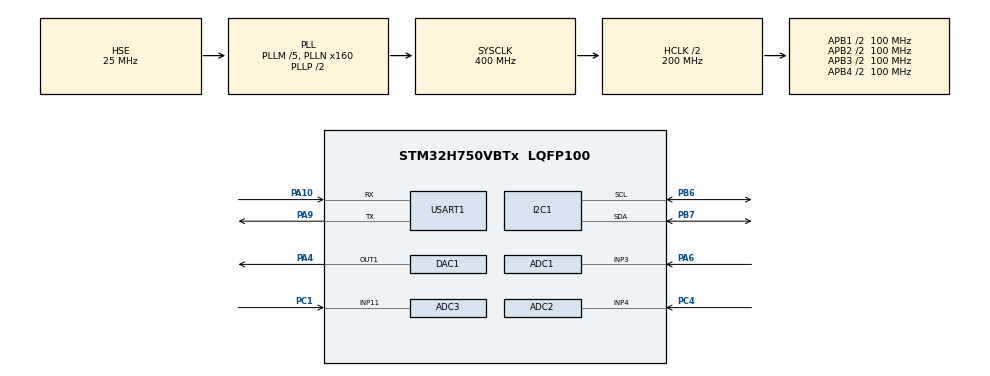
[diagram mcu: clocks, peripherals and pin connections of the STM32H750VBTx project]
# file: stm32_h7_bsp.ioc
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ADC1.Channel-1\#ChannelRegularConversion=ADC_CHANNEL_3
ADC1.ContinuousConvMode=DISABLE
ADC1.ConversionDataManagement=ADC_CONVERSIONDATA_DMA_CIRCULAR
ADC1.DMAAccessModeView=ENABLE
ADC1.ExternalTrigConv=ADC_EXTERNALTRIG_T8_TRGO
ADC1.Mode=ADC_DUALMODE_REGSIMULT
ADC1.NbrOfConversion=1
ADC1.NbrOfConversionFlag=1
ADC1.OffsetNumber-1\#ChannelRegularConversion=ADC_OFFSET_NONE
ADC1.OffsetSignedSaturation-1\#ChannelRegularConversion=DISABLE
ADC1.Overrun=ADC_OVR_DATA_OVERWRITTEN
ADC1.Rank-1\#ChannelRegularConversion=1
ADC1.SamplingTime-1\#ChannelRegularConversion=ADC_SAMPLETIME_810CYCLES_5
ADC1.master=1
ADC2.Channel-1\#ChannelRegularConversion=ADC_CHANNEL_4
ADC2.ContinuousConvMode=DISABLE
ADC2.ConversionDataManagement=ADC_CONVERSIONDATA_DMA_CIRCULAR
ADC2.DMAAccessModeView=ENABLE
ADC2.Mode=ADC_DUALMODE_REGSIMULT
ADC2.NbrOfConversion=1
ADC2.NbrOfConversionFlag=1
ADC2.OffsetNumber-1\#ChannelRegularConversion=ADC_OFFSET_NONE
ADC2.OffsetSignedSaturation-1\#ChannelRegularConversion=DISABLE
ADC2.Overrun=ADC_OVR_DATA_OVERWRITTEN
ADC2.Rank-1\#ChannelRegularConversion=1
ADC2.SamplingTime-1\#ChannelRegularConversion=ADC_SAMPLETIME_810CYCLES_5
ADC3.Channel-14\#ChannelRegularConversion=ADC_CHANNEL_11
ADC3.ContinuousConvMode=ENABLE
ADC3.ConversionDataManagement=ADC_CONVERSIONDATA_DMA_CIRCULAR
ADC3.DMAAccessModeView=ENABLE
ADC3.Mode=ADC_DUALMODE_REGSIMULT
ADC3.NbrOfConversionFlag=1
ADC3.OffsetNumber-14\#ChannelRegularConversion=ADC_OFFSET_NONE
ADC3.OffsetSignedSaturation-14\#ChannelRegularConversion=DISABLE
ADC3.Overrun=ADC_OVR_DATA_OVERWRITTEN
ADC3.Rank-14\#ChannelRegularConversion=1
ADC3.SamplingTime-14\#ChannelRegularConversion=ADC_SAMPLETIME_64CYCLES_5
Bdma.ADC3.0.Direction=DMA_PERIPH_TO_MEMORY
Bdma.ADC3.0.EventEnable=DISABLE
Bdma.ADC3.0.Instance=BDMA_Channel0
Bdma.ADC3.0.MemDataAlignment=DMA_MDATAALIGN_HALFWORD
Bdma.ADC3.0.MemInc=DMA_MINC_ENABLE
Bdma.ADC3.0.Mode=DMA_CIRCULAR
Bdma.ADC3.0.PeriphDataAlignment=DMA_PDATAALIGN_HALFWORD
Bdma.ADC3.0.PeriphInc=DMA_PINC_DISABLE
Bdma.ADC3.0.Polarity=HAL_DMAMUX_REQ_GEN_RISING
Bdma.ADC3.0.Priority=DMA_PRIORITY_LOW
Bdma.ADC3.0.RequestNumber=1
Bdma.ADC3.0.SignalID=NONE
Bdma.ADC3.0.SyncEnable=DISABLE
Bdma.ADC3.0.SyncPolarity=HAL_DMAMUX_SYNC_NO_EVENT
Bdma.ADC3.0.SyncRequestNumber=1
Bdma.ADC3.0.SyncSignalID=NONE
Bdma.Request0=ADC3
Bdma.RequestsNb=1
CORTEX_M7.AccessPermission-Cortex_Memory_Protection_Unit_Region0_Settings=MPU_REGION_FULL_ACCESS
CORTEX_M7.BaseAddress-Cortex_Memory_Protection_Unit_Region0_Settings=0x38000000
CORTEX_M7.CPU_DCache=Disabled
CORTEX_M7.CPU_ICache=Disabled
CORTEX_M7.Enable-Cortex_Memory_Protection_Unit_Region0_Settings=MPU_REGION_ENABLE
CORTEX_M7.IsCacheable-Cortex_Memory_Protection_Unit_Region0_Settings=MPU_ACCESS_CACHEABLE
CORTEX_M7.MPU_Control=__NULL
CORTEX_M7.Size-Cortex_Memory_Protection_Unit_Region0_Settings=MPU_REGION_SIZE_64KB
DAC1.DAC_Channel-DAC_OUT1=DAC_CHANNEL_1
DAC1.DAC_Trigger-DAC_OUT1=DAC_TRIGGER_SOFTWARE
Dma.ADC1.2.Direction=DMA_PERIPH_TO_MEMORY
Dma.ADC1.2.EventEnable=DISABLE
Dma.ADC1.2.FIFOMode=DMA_FIFOMODE_DISABLE
Dma.ADC1.2.Instance=DMA1_Stream0
Dma.ADC1.2.MemDataAlignment=DMA_MDATAALIGN_WORD
Dma.ADC1.2.MemInc=DMA_MINC_ENABLE
Dma.ADC1.2.Mode=DMA_CIRCULAR
Dma.ADC1.2.PeriphDataAlignment=DMA_PDATAALIGN_WORD
Dma.ADC1.2.PeriphInc=DMA_PINC_DISABLE
Dma.ADC1.2.Polarity=HAL_DMAMUX_REQ_GEN_RISING
Dma.ADC1.2.Priority=DMA_PRIORITY_MEDIUM
Dma.ADC1.2.RequestNumber=1
Dma.ADC1.2.SignalID=NONE
Dma.ADC1.2.SyncEnable=DISABLE
Dma.ADC1.2.SyncPolarity=HAL_DMAMUX_SYNC_NO_EVENT
Dma.ADC1.2.SyncRequestNumber=1
Dma.ADC1.2.SyncSignalID=NONE
Dma.ADC2.3.Direction=DMA_PERIPH_TO_MEMORY
Dma.ADC2.3.EventEnable=DISABLE
Dma.ADC2.3.FIFOMode=DMA_FIFOMODE_DISABLE
Dma.ADC2.3.Instance=DMA1_Stream3
Dma.ADC2.3.MemDataAlignment=DMA_MDATAALIGN_WORD
Dma.ADC2.3.MemInc=DMA_MINC_ENABLE
Dma.ADC2.3.Mode=DMA_CIRCULAR
Dma.ADC2.3.PeriphDataAlignment=DMA_PDATAALIGN_WORD
Dma.ADC2.3.PeriphInc=DMA_PINC_DISABLE
Dma.ADC2.3.Polarity=HAL_DMAMUX_REQ_GEN_RISING
Dma.ADC2.3.Priority=DMA_PRIORITY_LOW
Dma.ADC2.3.RequestNumber=1
Dma.ADC2.3.SignalID=NONE
Dma.ADC2.3.SyncEnable=DISABLE
Dma.ADC2.3.SyncPolarity=HAL_DMAMUX_SYNC_NO_EVENT
Dma.ADC2.3.SyncRequestNumber=1
Dma.ADC2.3.SyncSignalID=NONE
Dma.Request0=USART1_RX
Dma.Request1=USART1_TX
Dma.Request2=ADC1
Dma.Request3=ADC2
Dma.USART1_RX.0.Direction=DMA_PERIPH_TO_MEMORY
Dma.USART1_RX.0.EventEnable=DISABLE
Dma.USART1_RX.0.FIFOMode=DMA_FIFOMODE_DISABLE
Dma.USART1_RX.0.Instance=DMA1_Stream2
Dma.USART1_RX.0.MemDataAlignment=DMA_MDATAALIGN_BYTE
Dma.USART1_RX.0.MemInc=DMA_MINC_ENABLE
Dma.USART1_RX.0.Mode=DMA_NORMAL
Dma.USART1_RX.0.PeriphDataAlignment=DMA_PDATAALIGN_BYTE
Dma.USART1_RX.0.PeriphInc=DMA_PINC_DISABLE
Dma.USART1_RX.0.Polarity=HAL_DMAMUX_REQ_GEN_RISING
Dma.USART1_RX.0.Priority=DMA_PRIORITY_LOW
Dma.USART1_RX.0.RequestNumber=1
Dma.USART1_RX.0.SignalID=NONE
Dma.USART1_RX.0.SyncEnable=DISABLE
Dma.USART1_RX.0.SyncPolarity=HAL_DMAMUX_SYNC_NO_EVENT
Dma.USART1_RX.0.SyncRequestNumber=1
Dma.USART1_RX.0.SyncSignalID=NONE
Dma.USART1_TX.1.Direction=DMA_MEMORY_TO_PERIPH
Dma.USART1_TX.1.EventEnable=DISABLE
Dma.USART1_TX.1.FIFOMode=DMA_FIFOMODE_DISABLE
Dma.USART1_TX.1.Instance=DMA1_Stream1
Dma.USART1_TX.1.MemDataAlignment=DMA_MDATAALIGN_BYTE
Dma.USART1_TX.1.MemInc=DMA_MINC_ENABLE
Dma.USART1_TX.1.Mode=DMA_NORMAL
Dma.USART1_TX.1.PeriphDataAlignment=DMA_PDATAALIGN_BYTE
Dma.USART1_TX.1.PeriphInc=DMA_PINC_DISABLE
Dma.USART1_TX.1.Polarity=HAL_DMAMUX_REQ_GEN_RISING
Dma.USART1_TX.1.Priority=DMA_PRIORITY_LOW
Dma.USART1_TX.1.RequestNumber=1
Dma.USART1_TX.1.SignalID=NONE
Dma.USART1_TX.1.SyncEnable=DISABLE
Dma.USART1_TX.1.SyncPolarity=HAL_DMAMUX_SYNC_NO_EVENT
Dma.USART1_TX.1.SyncRequestNumber=1
Dma.USART1_TX.1.SyncSignalID=NONE
I2C1.Speed=10
I2C1.Timing=0x00000000
Mcu.Family=STM32H7
Mcu.Name=STM32H750VBTx
Mcu.Package=LQFP100
NVIC.BDMA_Channel0_IRQn=true\:0\:0\:false\:false\:true\:false\:true\:true
NVIC.DMA1_Stream0_IRQn=true\:0\:0\:false\:false\:true\:false\:true\:true
NVIC.DMA1_Stream1_IRQn=true\:0\:0\:false\:false\:true\:false\:true\:true
NVIC.DMA1_Stream2_IRQn=true\:0\:0\:false\:false\:true\:false\:true\:true
NVIC.DMA1_Stream3_IRQn=true\:0\:0\:false\:false\:true\:false\:true\:true
NVIC.PriorityGroup=NVIC_PRIORITYGROUP_4
NVIC.USART1_IRQn=true\:0\:0\:false\:false\:true\:true\:true\:true
PA10.Mode=Asynchronous
PA10.Signal=USART1_RX
PA13\ (JTMS/SWDIO).Mode=Serial_Wire
PA13\ (JTMS/SWDIO).Signal=DEBUG_JTMS-SWDIO
PA14\ (JTCK/SWCLK).Mode=Serial_Wire
PA14\ (JTCK/SWCLK).Signal=DEBUG_JTCK-SWCLK
PA4.Signal=COMP_DAC11_group
PA6.Signal=ADCx_INP3
PA9.Mode=Asynchronous
PA9.Signal=USART1_TX
PB6.Mode=I2C
PB6.Signal=I2C1_SCL
PB7.Mode=I2C
PB7.Signal=I2C1_SDA
PC1.Signal=ADCx_INP11
PC4.Signal=ADCx_INP4
PH0-OSC_IN\ (PH0).Mode=HSE-External-Oscillator
PH0-OSC_IN\ (PH0).Signal=RCC_OSC_IN
PH1-OSC_OUT\ (PH1).Mode=HSE-External-Oscillator
PH1-OSC_OUT\ (PH1).Signal=RCC_OSC_OUT
ProjectManager.HeapSize=0x200
ProjectManager.StackSize=0x400
ProjectManager.TargetToolchain=MDK-ARM V5.32
RCC.ADCFreq_Value=75000000
RCC.APB1Freq_Value=100000000
RCC.APB2Freq_Value=100000000
RCC.APB3Freq_Value=100000000
RCC.APB4Freq_Value=100000000
RCC.CortexFreq_Value=400000000
RCC.D1PPRE=RCC_APB3_DIV2
RCC.D2PPRE1=RCC_APB1_DIV2
RCC.D2PPRE2=RCC_APB2_DIV2
RCC.D3PPRE=RCC_APB4_DIV2
RCC.DIVM1=5
RCC.DIVM2=2
RCC.DIVN1=160
RCC.DIVN2=12
RCC.HCLKFreq_Value=200000000
RCC.HPRE=RCC_HCLK_DIV2
RCC.HSE_VALUE=25000000
RCC.PLL2FRACN=0
RCC.PLL3FRACN=0
RCC.PLL3_VCI_Range-AdvancedSettings=RCC_PLL3VCIRANGE_1
RCC.PLLFRACN=0
RCC.PLLSourceVirtual=RCC_PLLSOURCE_HSE
RCC.SYSCLKFreq_VALUE=400000000
RCC.SYSCLKSource=RCC_SYSCLKSOURCE_PLLCLK
RCC.USBFreq_Value=400000000
SH.ADCx_INP11.0=ADC3_INP11,IN11-Single-Ended
SH.ADCx_INP3.0=ADC1_INP3,IN3-Single-Ended
SH.ADCx_INP4.0=ADC2_INP4,IN4-Single-Ended
SH.COMP_DAC11_group.0=DAC1_OUT1,DAC_OUT1
TIM8.AutoReloadPreload=TIM_AUTORELOAD_PRELOAD_ENABLE
TIM8.Period=99
TIM8.Prescaler=1
TIM8.RepetitionCounter=1
TIM8.TIM_MasterOutputTrigger=TIM_TRGO_UPDATE
TIM8.TIM_MasterOutputTrigger2=TIM_TRGO2_RESET
TIM8.TIM_MasterSlaveMode=TIM_MASTERSLAVEMODE_DISABLE
USART1.VirtualMode-Asynchronous=VM_ASYNC
VP_MEMORYMAP_VS_MEMORYMAP.Mode=CurAppReg
VP_TIM8_VS_ClockSourceITR.Mode=TriggerSource_ITR1
board=custom

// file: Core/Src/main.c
/* USER CODE BEGIN Header */
/**
  ******************************************************************************
  * @file           : main.c
  * @brief          : Main program body
  ******************************************************************************
  * @attention
  *
  * Copyright (c) 2025 STMicroelectronics.
  * All rights reserved.
  *
  * This software is licensed under terms that can be found in the LICENSE file
  * in the root directory of this software component.
  * If no LICENSE file comes with this software, it is provided AS-IS.
  *
  ******************************************************************************
  */
/* USER CODE END Header */
#include "main.h"
#include "adc.h"
#include "bdma.h"
#include "dac.h"
#include "dma.h"
#include "i2c.h"
#include "tim.h"
#include "usart.h"
#include "gpio.h"

/* USER CODE BEGIN Includes */
#include "adc.h"
#include "string.h"
#include "stdio.h"
#include "filters.h"
#include "i2c_hal.h"
#include "at24cxx.h"
/* USER CODE END Includes */

/* USER CODE BEGIN PV */
uint8_t rx_buf[20];
char tx_buf[20];

uint8_t rx_data,rx_count;
uint8_t adc1flag,adc2flag,adc3flag;
uint32_t adc1,dac_value;

uint8_t num ;
float adc_volt;
float volt_rate,volt_fi;
float Psd_Lx = 12.0;
float postion_x=0,filtered_volt_rate=0.0f,alpha=0.5f,postion_x1=0,postion_x2=0;
float adc1_ave,adc2_ave,adc3_ave=2.048;
	uint8_t buff[6]={1};
float kalman_volt,kalman_px;

uint8_t bb=3;
#define ADC_BUFFER_SIZE 64

ALIGN_32BYTES (uint16_t adc3_value[ADC_BUFFER_SIZE]) __attribute__((section(".ARM.__at_0x38000000")));
uint32_t adc1_value[ADC_BUFFER_SIZE]__attribute__((section(".ARM.__at_0x24000000")));
uint32_t adc2_value[ADC_BUFFER_SIZE]__attribute__((section(".ARM.__at_0x24010000")));

uint8_t test_char = 0x00;
uint8_t add[2];
uint16_t myid;
uint32_t i;

/* USER CODE END PV */

void SystemClock_Config(void);
void PeriphCommonClock_Config(void);

int main(void)
{

  /* USER CODE BEGIN 1 */
	//num = (uint8_t)nn;
  /* USER CODE END 1 */

  /* MCU Configuration--------------------------------------------------------*/

  /* Reset of all peripherals, Initializes the Flash interface and the Systick. */
  HAL_Init();

  /* Configure the system clock */
  SystemClock_Config();

  /* Configure the peripherals common clocks */
  PeriphCommonClock_Config();

  /* Initialize all configured peripherals */
  MX_GPIO_Init();
  MX_DMA_Init();
  MX_BDMA_Init();
  MX_USART1_UART_Init();
  MX_ADC1_Init();
  MX_ADC2_Init();
  MX_ADC3_Init();
  MX_DAC1_Init();
  MX_I2C1_Init();
  MX_TIM8_Init();
  /* USER CODE BEGIN 2 */
	DWT_Init();
	I2CInit();

	HAL_UART_Receive_IT(&huart1,&rx_data,1);
	sprintf(tx_buf,"111");
	HAL_UART_Transmit(&huart1 , (uint8_t *)(tx_buf) , strlen(tx_buf) , 50);
	HAL_ADCEx_Calibration_Start(&hadc1,ADC_CALIB_OFFSET,ADC_SINGLE_ENDED);
	HAL_ADCEx_Calibration_Start(&hadc2,ADC_CALIB_OFFSET,ADC_SINGLE_ENDED);
	HAL_ADCEx_Calibration_Start(&hadc3,ADC_CALIB_OFFSET,ADC_SINGLE_ENDED);
	//unsigned char buf_w[] = {0x11, 0x22, 0x33};
	//I2CWrite(0x120, &aa, 1); // ?????0x1A3F
	HAL_Delay(1000);
	// ????
	//unsigned char buf_r[10];
	//I2CRead(0x120, &bb, 1); // ?0x2000??10??
	I2C_FDC_Read(0x7F, add, 2);
	myid = add[0]<<8 || add[1];

	HAL_ADC_Start(&hadc2);
	memset(adc1_value, 0, sizeof(adc1_value));
	HAL_ADCEx_MultiModeStart_DMA(&hadc1,(uint32_t *)adc1_value,ADC_BUFFER_SIZE);
	HAL_TIM_Base_Start(&htim8);
	//HAL_DAC_SetValue(&hdac1,DAC_CHANNEL_1,DAC_ALIGN_12B_R,dac_value);
	//HAL_DAC_Start(&hdac1,DAC_CHANNEL_1);

	MovingAverageFilter *voltaverage = createMovingAverageFilter(20);
	//uint8_t res;
	//res = AT24CXX_Check();
//	if(!res)
//	{
//		aa=666;
//	}
//	else
//	{
//		aa=776;
//	}
//	HAL_Delay(1000);
//	AT24CXX_Write(0x16,(uint8_t *)bb,1);
//	HAL_Delay(1000);
//	AT24CXX_Read(0x16,buff,5);
  /* USER CODE END 2 */

  /* Infinite loop */
  /* USER CODE BEGIN WHILE */
  while (1)
  {
		if (adc3flag == 1)
        {
            uint32_t sum = 0;
            for (int i = 0; i < ADC_BUFFER_SIZE; i++)
            {
                sum += (uint32_t)adc3_value[i];
            }
            float average = (float)sum / ADC_BUFFER_SIZE;
            //adc3_ave = average * 3.0f / 65535.0f;
			adc3_ave=2.048;
            adc3flag = 0; // ?????
        }
		if(adc1_ave > adc2_ave)
		{
			postion_x=(adc1_ave-adc2_ave)*Psd_Lx/(-(adc1_ave+adc2_ave)+2*adc3_ave)/2;
			volt_rate= (adc1_ave-adc3_ave)/(adc2_ave-adc3_ave);
			if(adc2_ave-adc3_ave==0) volt_rate=0.0f;
			//postion_x=-(adc1_ave-adc2_ave)*Psd_Lx/((adc1_ave-adc3_ave)+(adc2_ave-adc3_ave))/2;
		}
		else
		{
			volt_rate= (adc2_ave-adc3_ave)/(adc1_ave-adc3_ave);
			if(adc1_ave-adc3_ave==0) volt_rate=0.0f;
			postion_x=(adc2_ave-adc1_ave)*Psd_Lx/(-(adc1_ave+adc2_ave)+2*adc3_ave)/2;
			//postion_x=-(adc2_ave-adc1_ave)*Psd_Lx/((adc2_ave-adc3_ave)+(adc1_ave-adc3_ave))/2;
		}
		i++;
		HAL_Delay(10);

//		postion_x1 = Psd_Lx * (1.0f - volt_rate)/(1+volt_rate)/2.0f;
        volt_fi= updateMovingAverage(voltaverage,volt_rate);
//		postion_x2=Psd_Lx * (1.0f - volt_fi)/(1+volt_fi)/2.0f;
    /* USER CODE END WHILE */

  }
}

void SystemClock_Config(void)
{
  RCC_OscInitTypeDef RCC_OscInitStruct = {0};
  RCC_ClkInitTypeDef RCC_ClkInitStruct = {0};

  /** Supply configuration update enable
  */
  HAL_PWREx_ConfigSupply(PWR_LDO_SUPPLY);

  /** Configure the main internal regulator output voltage
  */
  __HAL_PWR_VOLTAGESCALING_CONFIG(PWR_REGULATOR_VOLTAGE_SCALE1);

  while(!__HAL_PWR_GET_FLAG(PWR_FLAG_VOSRDY)) {}

  /** Initializes the RCC Oscillators according to the specified parameters
  * in the RCC_OscInitTypeDef structure.
  */
  RCC_OscInitStruct.OscillatorType = RCC_OSCILLATORTYPE_HSE;
  RCC_OscInitStruct.HSEState = RCC_HSE_ON;
  RCC_OscInitStruct.PLL.PLLState = RCC_PLL_ON;
  RCC_OscInitStruct.PLL.PLLSource = RCC_PLLSOURCE_HSE;
  RCC_OscInitStruct.PLL.PLLM = 5;
  RCC_OscInitStruct.PLL.PLLN = 160;
  RCC_OscInitStruct.PLL.PLLP = 2;
  RCC_OscInitStruct.PLL.PLLQ = 2;
  RCC_OscInitStruct.PLL.PLLR = 2;
  RCC_OscInitStruct.PLL.PLLRGE = RCC_PLL1VCIRANGE_2;
  RCC_OscInitStruct.PLL.PLLVCOSEL = RCC_PLL1VCOWIDE;
  RCC_OscInitStruct.PLL.PLLFRACN = 0;
  if (HAL_RCC_OscConfig(&RCC_OscInitStruct) != HAL_OK)
  {
    Error_Handler();
  }

  /** Initializes the CPU, AHB and APB buses clocks
  */
  RCC_ClkInitStruct.ClockType = RCC_CLOCKTYPE_HCLK|RCC_CLOCKTYPE_SYSCLK
                              |RCC_CLOCKTYPE_PCLK1|RCC_CLOCKTYPE_PCLK2
                              |RCC_CLOCKTYPE_D3PCLK1|RCC_CLOCKTYPE_D1PCLK1;
  RCC_ClkInitStruct.SYSCLKSource = RCC_SYSCLKSOURCE_PLLCLK;
  RCC_ClkInitStruct.SYSCLKDivider = RCC_SYSCLK_DIV1;
  RCC_ClkInitStruct.AHBCLKDivider = RCC_HCLK_DIV2;
  RCC_ClkInitStruct.APB3CLKDivider = RCC_APB3_DIV2;
  RCC_ClkInitStruct.APB1CLKDivider = RCC_APB1_DIV2;
  RCC_ClkInitStruct.APB2CLKDivider = RCC_APB2_DIV2;
  RCC_ClkInitStruct.APB4CLKDivider = RCC_APB4_DIV2;

  if (HAL_RCC_ClockConfig(&RCC_ClkInitStruct, FLASH_LATENCY_2) != HAL_OK)
  {
    Error_Handler();
  }
}

void PeriphCommonClock_Config(void)
{
  RCC_PeriphCLKInitTypeDef PeriphClkInitStruct = {0};

  /** Initializes the peripherals clock
  */
  PeriphClkInitStruct.PeriphClockSelection = RCC_PERIPHCLK_ADC;
  PeriphClkInitStruct.PLL2.PLL2M = 2;
  PeriphClkInitStruct.PLL2.PLL2N = 12;
  PeriphClkInitStruct.PLL2.PLL2P = 2;
  PeriphClkInitStruct.PLL2.PLL2Q = 2;
  PeriphClkInitStruct.PLL2.PLL2R = 2;
  PeriphClkInitStruct.PLL2.PLL2RGE = RCC_PLL2VCIRANGE_3;
  PeriphClkInitStruct.PLL2.PLL2VCOSEL = RCC_PLL2VCOMEDIUM;
  PeriphClkInitStruct.PLL2.PLL2FRACN = 0;
  PeriphClkInitStruct.AdcClockSelection = RCC_ADCCLKSOURCE_PLL2;
  if (HAL_RCCEx_PeriphCLKConfig(&PeriphClkInitStruct) != HAL_OK)
  {
    Error_Handler();
  }
}

/* USER CODE BEGIN 4 */
void HAL_UART_RxCpltCallback(UART_HandleTypeDef *huart)
{
	rx_buf[rx_count++]=rx_data;
	HAL_UART_Receive_IT(&huart1,&rx_data,1);
}

void HAL_ADC_ConvHalfCpltCallback(ADC_HandleTypeDef *hadc)
{

	uint32_t adc1_sum = 0;
	uint32_t adc2_sum = 0;
	for(int i = ADC_BUFFER_SIZE / 2 ;i < ADC_BUFFER_SIZE;i++)
	{
		uint32_t combined_data = adc1_value[i];
        adc1_sum += combined_data & 0xFFFF;        // ADC1���ݣ���16λ��
        adc2_sum += (combined_data >> 16) & 0xFFFF; // ADC2���ݣ���16λ��
	}
	adc1_ave= adc1_sum/ADC_BUFFER_SIZE/2;
	adc2_ave= adc2_sum/ADC_BUFFER_SIZE/2;

	adc1_ave = adc1_ave * 3.3/65535;
	adc2_ave = adc1_ave * 3.3/65535;
}

void HAL_ADC_ConvCpltCallback(ADC_HandleTypeDef *hadc)
{
	uint32_t adc1_sum = 0;
	uint32_t adc2_sum = 0;
	for(int i = 0 ;i < ADC_BUFFER_SIZE/2;i++)
	{
		uint32_t combined_data = adc1_value[i];
        adc1_sum += combined_data & 0xFFFF;        // ADC1���ݣ���16λ��
        adc2_sum += (combined_data >> 16) & 0xFFFF; // ADC2���ݣ���16λ��
	}
	adc1_ave= adc1_sum/ADC_BUFFER_SIZE/2;
	adc2_ave= adc2_sum/ADC_BUFFER_SIZE/2;

	adc1_ave = adc1_ave * 3.3/65535;
	adc2_ave = adc1_ave * 3.3/65535;
}
/* USER CODE END 4 */

void Error_Handler(void)
{
  __disable_irq();
  while (1)
  {
  }
}
